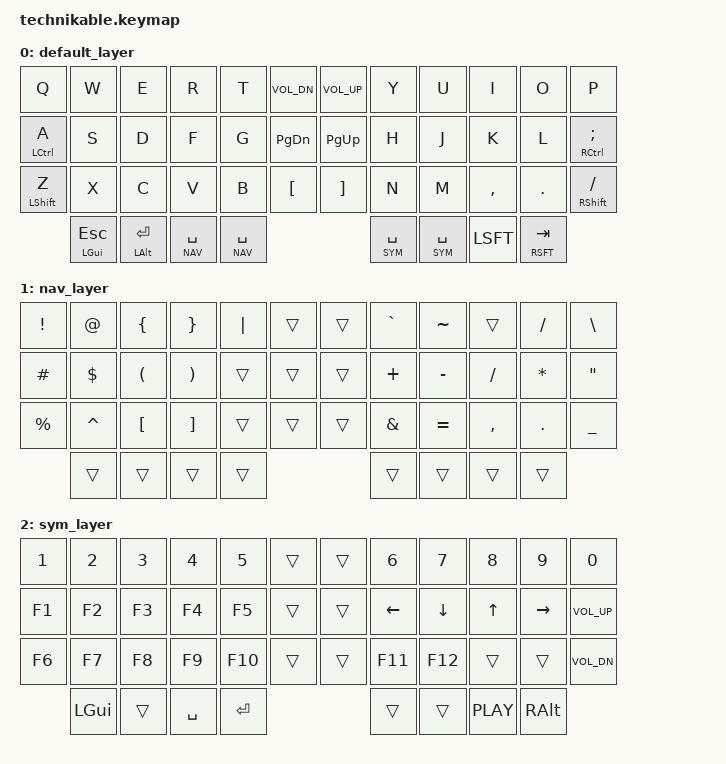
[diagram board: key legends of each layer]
/*
 * Copyright (c) 2020 The ZMK Contributors
 *
 * SPDX-License-Identifier: MIT
 */

#include <behaviors.dtsi>
#include <dt-bindings/zmk/keys.h>
#include <dt-bindings/zmk/bt.h> 

#define DEFAULT 0
#define NAV 1
#define SYM 2

#define COMBO(NAME, BINDINGS, KEYPOS) \
  combo_##NAME { \
    timeout-ms = <50>; \
    bindings = <BINDINGS>; \
    key-positions = <KEYPOS>; \
  };

&mt {
  flavor = "tap-preferred";
  //tapping_term_ms = <200>;
};

/  {
    combos {
        compatible = "zmk,combos";


          COMBO(backspace, &kp BACKSPACE, 13 14)
          COMBO(escape, &kp ESCAPE, 1 2)
          COMBO(quote, &kp APOSTROPHE, 31 32)
          COMBO(minus, &kp MINUS, 25 26)
          COMBO(less, &kp LESS_THAN, 19 20)
          COMBO(more, &kp GREATER_THAN, 21 22)
          COMBO(score, &kp UNDER, 32 33)
          COMBO(slash, &kp BACKSLASH, 10 11)
          COMBO(btc, &bt BT_CLR, 0 35)



};



        keymap {
                compatible = "zmk,keymap";

                default_layer {
// -----------------------------------------------------------------------------------------
// |  Q  |  W  |  E  |  R  |  T   |   |  Y  |  U   |  I  |  O  |  P  |
// |  A  |  S  |  D  |  F  |  G   |   |  H  |  J   |  K  |  L  |  ;  |
// |  Z  |  X  |  C  |  V  |  B   |   |  N  |  M   |  ,  |  .  |  /  |
//      *  .-------------------------.           .-----------------.
//      *  |ESC/META|ENT/ALT|SPC(SYM)|           |SPC(NUM)|BSPC|TAB|
//      *  '-------------------------'           '-----------------'

                        bindings = <
   &kp Q       &kp W &kp E &kp R &kp T               &kp C_VOL_DN   &kp C_VOL_UP    &kp Y &kp U  &kp I     &kp O   &kp P          
   &mt LCTRL A &kp S &kp D &kp F &kp G               &kp PAGE_DOWN  &kp PAGE_UP     &kp H &kp J  &kp K     &kp L   &mt RCTRL SEMI
   &mt LSHFT Z &kp X &kp C &kp V &kp B               &kp LBKT       &kp RBKT        &kp N &kp M  &kp COMMA &kp DOT &mt RSHFT FSLH
          &mt LGUI ESC &mt LALT RET &lt NAV SPACE    &lt NAV SPACE  &lt SYM SPACE   &lt SYM SPACE &kp LSFT &mt RSFT TAB
                        >;
                };

                nav_layer {


                        bindings = <
   &kp EXCL  &kp AT     &kp LBRC  &kp RBRC  &kp PIPE  &trans &trans &kp GRAVE  &kp TILDE &trans    &kp FSLH  &kp BSLH   
   &kp HASH  &kp DLLR   &kp LPAR  &kp RPAR  &trans    &trans &trans &kp PLUS   &kp MINUS &kp FSLH  &kp ASTRK &kp DQT    
   &kp PRCNT &kp CARET  &kp LBKT  &kp RBKT  &trans    &trans &trans &kp AMPS   &kp EQUAL &kp COMMA &kp DOT   &kp UNDER 
                               &trans    &trans    &trans &trans &trans   &trans   &trans   &trans
                        >;
                };

                sym_layer {

                        bindings = <
   &kp N1    &kp N2    &kp N3    &kp N4      &kp N5  &trans &trans    &kp N6    &kp N7     &kp N8    &kp N9      &kp N0        
   &kp F1    &kp F2    &kp F3    &kp F4      &kp F5  &trans &trans   &kp LEFT  &kp DOWN   &kp UP    &kp RIGHT   &kp C_VOL_UP  
   &kp F6    &kp F7    &kp F8    &kp F9      &kp F10 &trans &trans    &kp F11   &kp F12    &trans    &trans      &kp C_VOL_DN 
                              &kp LGUI  &trans      &kp SPACE   &kp RET  &trans &trans &kp C_PLAY &kp RALT
                        >;
                };
        };
};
